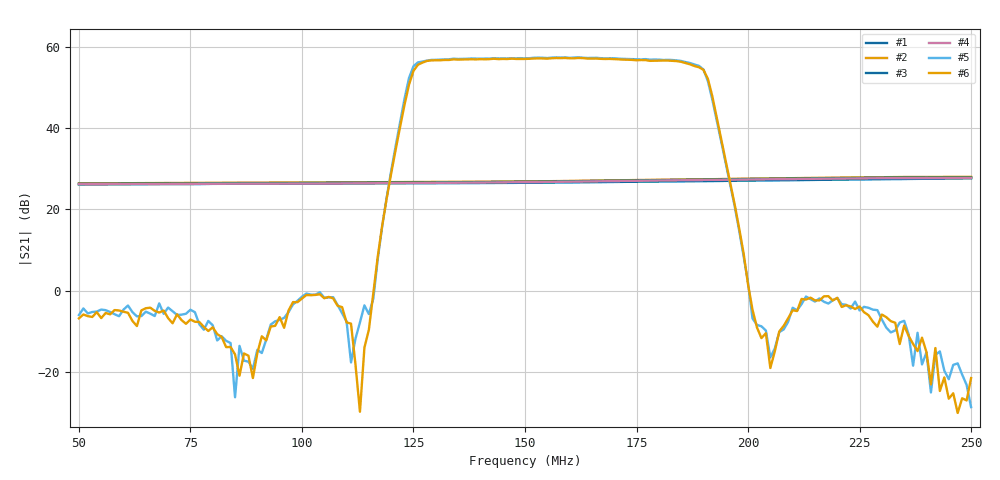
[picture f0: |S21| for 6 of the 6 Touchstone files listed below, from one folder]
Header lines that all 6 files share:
! Network Analyzer HP8753D.06.12 Serial No. 3410A09394
# HZ  S  DB R 50
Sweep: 50 MHz to 250 MHz
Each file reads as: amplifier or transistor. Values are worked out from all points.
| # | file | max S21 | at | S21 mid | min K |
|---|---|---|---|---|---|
| 1 | bDATA01.S2P | 27.6 dB | 250 MHz | 26.5 dB at 150 MHz | 5.69 |
| 2 | bDATA07.S2P | 28.0 dB | 247 MHz | 26.9 dB at 150 MHz | 6.00 |
| 3 | bDATA08.S2P | 27.8 dB | 247 MHz | 26.8 dB at 150 MHz | 5.45 |
| 4 | bDATA09.S2P | 27.7 dB | 243 MHz | 26.7 dB at 150 MHz | 5.89 |
| 5 | DATA00.S2P | 57.4 dB | 162 MHz | 57.1 dB at 150 MHz | 0.98 |
| 6 | DATA05.S2P | 57.3 dB | 162 MHz | 57.0 dB at 150 MHz | 0.93 |
